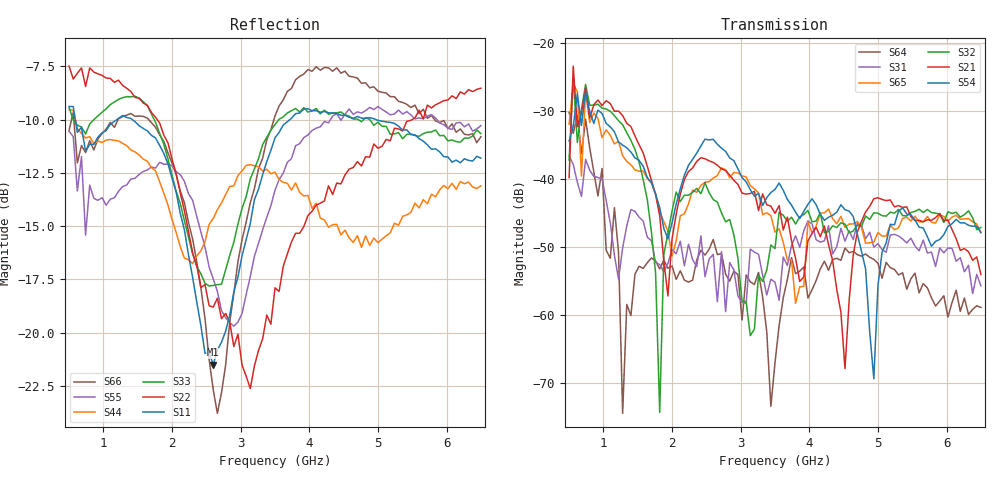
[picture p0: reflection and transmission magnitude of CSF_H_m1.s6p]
!Keysight Technologies,M9804A,MY58100912,A.14.10.03
!Date: Thursday, April 27, 2023 10:28:33
!Correction: S11(C  6-Port  )
!S12(C  6-Port  )
!S13(C  6-Port  )
!S14(C  6-Port  )
!S15(C  6-Port  )
!S16(C  6-Port  )
!S21(C  6-Port  )
!S22(C  6-Port  )
!S23(C  6-Port  )
!S24(C  6-Port  )
!S25(C  6-Port  )
!S26(C  6-Port  )
!S31(C  6-Port  )
!S32(C  6-Port  )
!S33(C  6-Port  )
!S34(C  6-Port  )
!S35(C  6-Port  )
!S36(C  6-Port  )
!S41(C  6-Port  )
!S42(C  6-Port  )
!S43(C  6-Port  )
!S44(C  6-Port  )
!S45(C  6-Port  )
!S46(C  6-Port  )
!S51(C  6-Port  )
!S52(C  6-Port  )
!S53(C  6-Port  )
!S54(C  6-Port  )
!S55(C  6-Port  )
!S56(C  6-Port  )
!S61(C  6-Port  )
!S62(C  6-Port  )
!S63(C  6-Port  )
!S64(C  6-Port  )
!S65(C  6-Port  )
!S66(C  6-Port  )
!S6P File: Measurement: :
# Hz S  RI  R 50
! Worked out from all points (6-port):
!   101 points, 500 MHz to 6.5 GHz, reference 50 ohm
!   strongest paths, dB at 500 MHz, 2 GHz, 3.5 GHz, 5 GHz, 6.5 GHz:
!     S54: -34.4, -46.4, -41.5, -55.7, -47.9
!     S21: -39.8, -48.8, -45.0, -42.7, -54.0
!     S32: -37.2, -44.7, -50.2, -45.0, -47.1
!     S65: -31.9, -51.3, -47.8, -47.9, -47.8
!     S31: -36.6, -50.3, -55.1, -49.5, -55.7
!     S64: -30.2, -52.8, -67.0, -52.4, -58.9
!   lowest |S11| = -21.5 dB at 2.6 GHz (marker M1), VSWR 1.18, Z = 42.5 + j2.18 ohm
!   |S11| at or under -10 dB: 590.7 MHz to 1.193 GHz (602.5 MHz wide, 67.5 % of centre); 1.424 GHz to 3.714 GHz (2.291 GHz wide, 89.2 % of centre); 4.976 GHz to end of sweep
